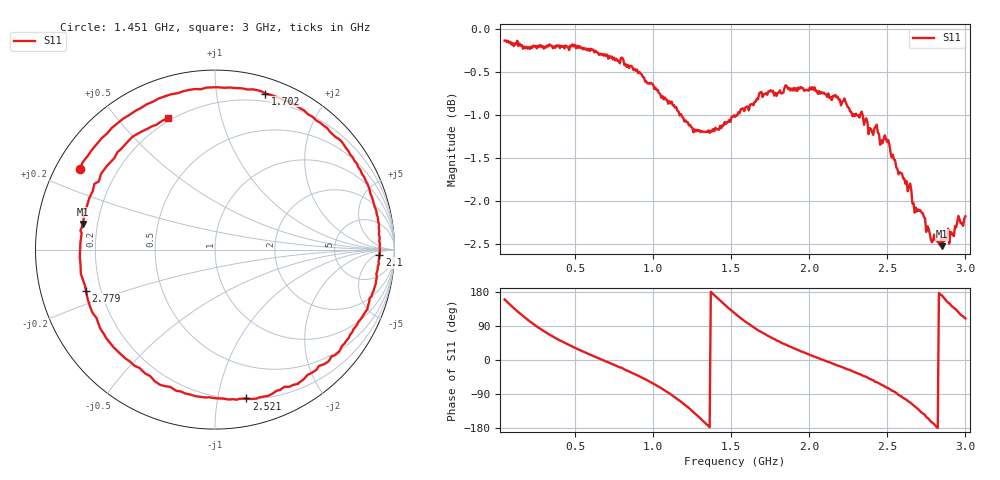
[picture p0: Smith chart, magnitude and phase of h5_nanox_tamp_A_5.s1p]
! nanovna_capture.py 2026-10-18T19:57:35+0900
! NanoVNA-F_V2 fw 0.6.0 SN 4A3639384505514B
! cal: load open short cal'ed  over 50000000-3000000000 Hz, 201 points
! points 401, avg 4
! h5 probe, tape spacer, modified (implanted) Nano X, position A (behind left button), placement 5
# HZ S RI R 50
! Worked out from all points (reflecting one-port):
!   401 points, 50 MHz to 3 GHz, reference 50 ohm
!   lowest |S11| = -2.5 dB at 2.853 GHz (marker M1), VSWR 6.93, Z = 7.28 + j4.74 ohm
!   phase of S11 starts at 160 deg and turns -770 deg over the sweep
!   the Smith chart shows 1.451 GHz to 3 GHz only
!   S11 on the Smith chart (normalised r, x): 1.451 GHz: 0.07, +0.27; 1.702 GHz: 0.13, +1.37; 2.1 GHz: 20, -8; 2.521 GHz: 0.21, -1.21; 2.779 GHz: 0.14, -0.15; 3 GHz: 0.18, +0.69
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5e7  -0.9237 0.3409
1.385e8  -0.5782 0.788
2.19625e8  -0.1582 0.9639
3.08125e8  0.2618 0.941
4.1875e8  0.6444 0.7336
6.03125e8  0.9482 0.2222
7.875e8  0.9017 -0.3149
9.055e8  0.7049 -0.6258
1.001375e9  0.4354 -0.8195
1.15625e9  -0.2062 -0.8724
1.237375e9  -0.562 -0.6766
1.325875e9  -0.833 -0.2552
1.384875e9  -0.8699 0.0916
1.45125e9  -0.7546 0.4502
1.525e9  -0.4785 0.7493
1.606125e9  -0.1116 0.8945
1.702e9  0.2805 0.8688
1.89375e9  0.7768 0.4948
2.10025e9  0.9162 -0.0299
2.2625e9  0.8018 -0.3984
2.373125e9  0.6096 -0.6379
2.520625e9  0.1747 -0.8294
2.63125e9  -0.2502 -0.765
2.71975e9  -0.59 -0.5136
2.77875e9  -0.7188 -0.2288
2.8525e9  -0.734 0.1435
2.918875e9  -0.5834 0.4859
3e9  -0.2631 0.7325
